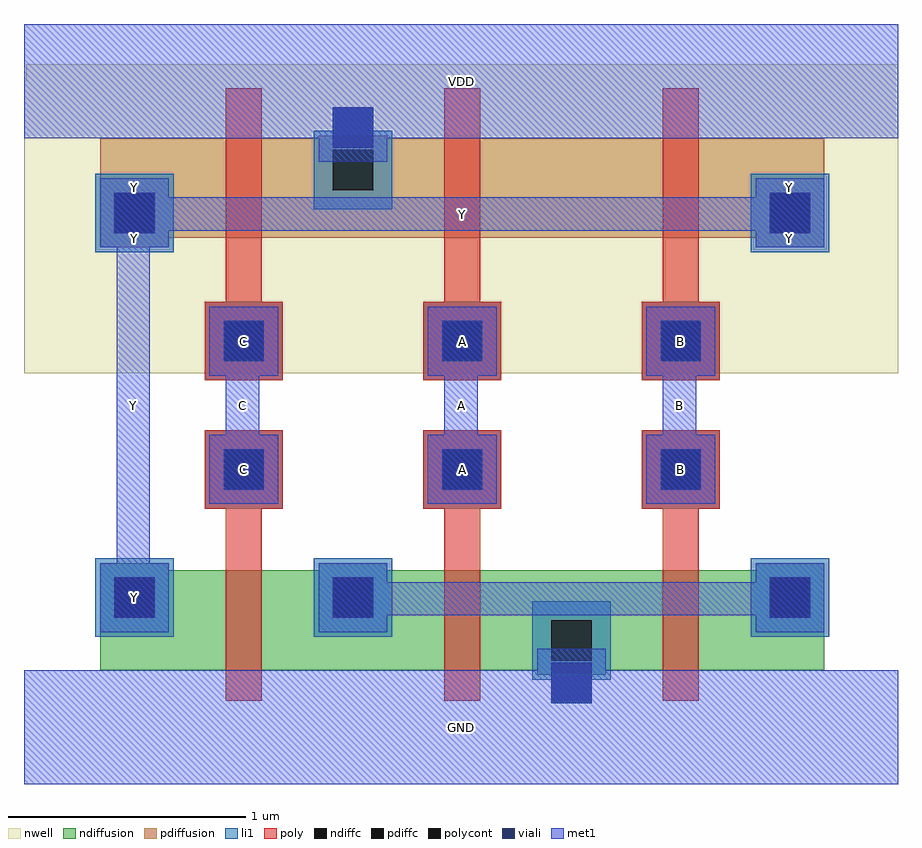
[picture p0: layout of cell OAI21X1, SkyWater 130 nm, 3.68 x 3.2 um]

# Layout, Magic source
magic
# Generated by librecell
tech sky130A
<< nwell >>
rect 0 149 368 272
rect 1 272 368 279
<< viali >>
rect 222 10 239 27
rect 38 46 55 63
rect 130 46 147 63
rect 314 46 331 63
rect 84 100 101 117
rect 176 100 193 117
rect 268 100 285 117
rect 84 154 101 171
rect 176 154 193 171
rect 268 154 285 171
rect 38 208 55 225
rect 314 208 331 225
rect 130 244 147 261
<< poly >>
rect 85 11 100 92
rect 76 92 109 125
rect 177 11 192 92
rect 168 92 201 125
rect 269 11 284 92
rect 260 92 293 125
rect 76 146 109 179
rect 85 179 100 269
rect 168 146 201 179
rect 177 179 192 269
rect 260 146 293 179
rect 269 179 284 269
<< properties >>
string FIXED_BBOX 0 0 368 272
<< li1 >>
rect 222 10 239 20
rect 214 20 247 53
rect 30 38 63 71
rect 122 38 155 71
rect 306 38 339 71
rect 76 92 109 125
rect 168 92 201 125
rect 260 92 293 125
rect 76 146 109 179
rect 168 146 201 179
rect 260 146 293 179
rect 30 200 63 233
rect 306 200 339 233
rect 122 218 155 251
rect 130 251 147 261
<< met1 >>
rect 0 -24 368 24
rect 216 24 245 33
rect 124 40 153 47
rect 308 40 337 47
rect 124 47 337 61
rect 124 61 153 69
rect 308 61 337 69
rect 78 94 107 123
rect 85 123 99 148
rect 78 148 107 177
rect 170 94 199 123
rect 177 123 191 148
rect 170 148 199 177
rect 262 94 291 123
rect 269 123 283 148
rect 262 148 291 177
rect 32 40 61 69
rect 39 69 53 202
rect 32 202 61 209
rect 308 202 337 209
rect 32 209 337 223
rect 32 223 61 231
rect 308 223 337 231
rect 124 238 153 248
rect 0 248 368 296
<< li1 >>
<< met1 >>
<< li1 >>
<< met1 >>
rect 0 -24 368 24
rect 78 94 107 123
rect 85 123 99 148
rect 78 148 107 177
rect 170 94 199 123
rect 177 123 191 148
rect 170 148 199 177
rect 262 94 291 123
rect 269 123 283 148
rect 262 148 291 177
rect 32 40 61 69
rect 39 69 53 202
rect 32 202 61 209
rect 308 202 337 209
rect 32 209 337 223
rect 32 223 61 231
rect 308 223 337 231
rect 0 248 368 296
<< ndiffusion >>
rect 216 22 245 24
rect 32 24 337 66
rect 32 66 61 69
rect 124 66 153 69
rect 308 66 337 69
<< pdiffusion >>
rect 32 202 61 206
rect 308 202 337 206
rect 32 206 337 248
rect 124 248 153 249
<< polycont >>
rect 84 100 101 117
rect 176 100 193 117
rect 268 100 285 117
rect 84 154 101 171
rect 176 154 193 171
rect 268 154 285 171
<< pdiffc >>
rect 38 208 55 225
rect 314 208 331 225
rect 130 226 147 243
<< ndiffc >>
rect 222 28 239 45
rect 38 46 55 63
rect 130 46 147 63
rect 314 46 331 63
<< labels >>
rlabel metal2 0 248 368 296 0 VDD
port 1 se
rlabel metal2 0 -24 368 24 0 GND
port 2 se
rlabel metal2 32 40 61 69 0 Y
port 3 se
rlabel metal2 39 69 53 202 0 Y
port 4 se
rlabel metal2 32 202 61 209 0 Y
port 5 se
rlabel metal2 308 202 337 209 0 Y
port 6 se
rlabel metal2 32 209 337 223 0 Y
port 7 se
rlabel metal2 32 223 61 231 0 Y
port 8 se
rlabel metal2 308 223 337 231 0 Y
port 9 se
rlabel metal2 78 94 107 123 0 C
port 10 se
rlabel metal2 85 123 99 148 0 C
port 11 se
rlabel metal2 78 148 107 177 0 C
port 12 se
rlabel metal2 262 94 291 123 0 B
port 13 se
rlabel metal2 269 123 283 148 0 B
port 14 se
rlabel metal2 262 148 291 177 0 B
port 15 se
rlabel metal2 170 94 199 123 0 A
port 16 se
rlabel metal2 177 123 191 148 0 A
port 17 se
rlabel metal2 170 148 199 177 0 A
port 18 se
<< end >>
